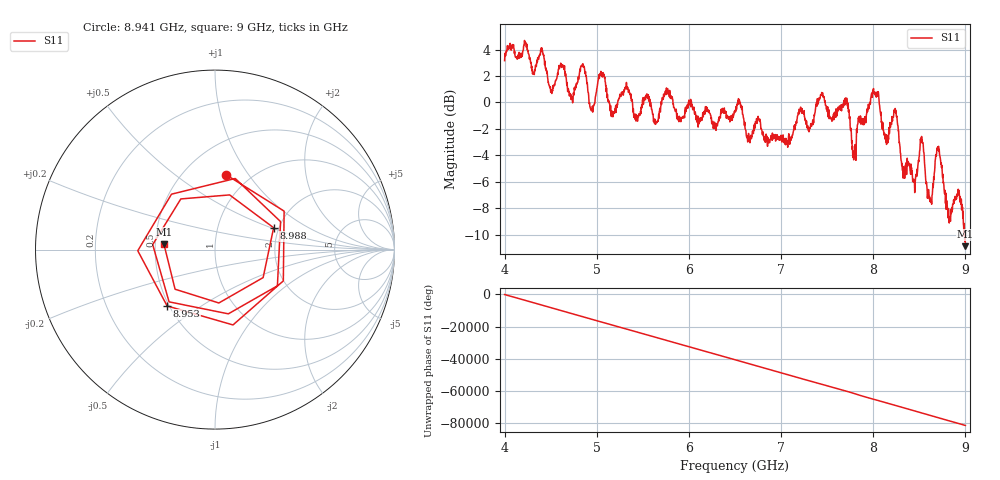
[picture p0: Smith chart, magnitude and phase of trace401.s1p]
! Created with skrf 1.8.0 (http://scikit-rf.org).
# Hz S RI R 50.0
!freq ReS11 ImS11
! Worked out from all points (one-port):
!   1601 points, 4 GHz to 9 GHz, reference 50 ohm
!   lowest |S11| = -10.9 dB at 9 GHz (marker M1), VSWR 1.80, Z = 27.8 + j1.83 ohm
!   |S11| at or under -10 dB: 8.983895 GHz to 8.984107 GHz (211.4 kHz wide, 0.00235 % of centre); 8.990507 GHz to end of sweep
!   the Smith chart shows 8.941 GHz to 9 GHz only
!   S11 on the Smith chart (normalised r, x): 8.941 GHz: 0.78, +0.79; 8.953 GHz: 0.49, -0.37; 8.988 GHz: 1.88, +0.52; 9 GHz: 0.56, +0.04
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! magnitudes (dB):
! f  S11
! 4 GHz  3.2
! 4.403 GHz  3.8
! 4.509 GHz  0.9
! 4.625 GHz  2.8
! 4.728 GHz  0.2
! 4.853 GHz  2.7
! 4.944 GHz  -0.6
! 5.047 GHz  2.3
! 5.169 GHz  -1.0
! 5.25 GHz  0.6
! 5.875 GHz  -1.1
! 6.5 GHz  -0.6
! 7.125 GHz  -2.5
! 7.441 GHz  0.8
! 7.75 GHz  -1.9
! 7.791 GHz  -4.0
! 8.034 GHz  0.4
! 8.244 GHz  -0.6
! 8.375 GHz  -4.6
! 8.453 GHz  -6.6
! 8.528 GHz  -3.0
! 8.612 GHz  -7.1
! 8.703 GHz  -3.6
! 8.816 GHz  -8.0
! 8.941 GHz  -7.5
! 8.953 GHz  -7.7
! 8.988 GHz  -9.2
! 9 GHz  -10.9
